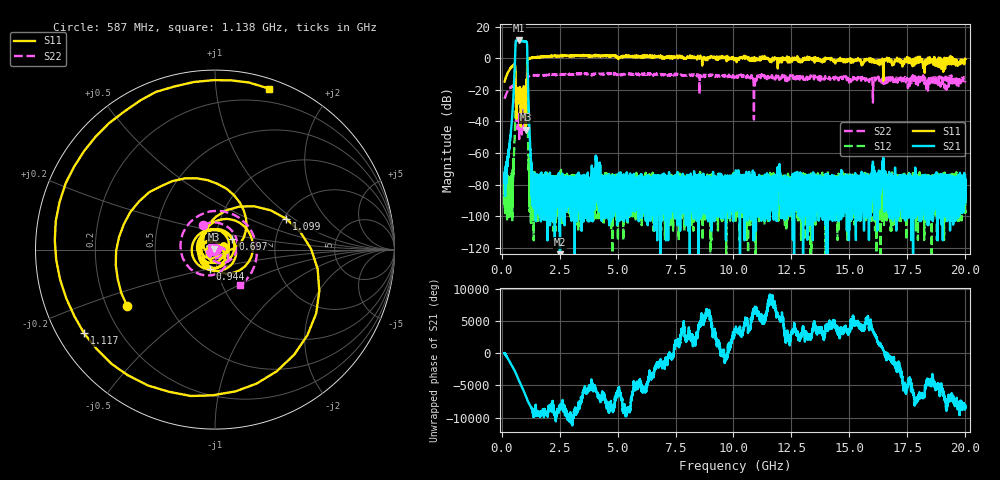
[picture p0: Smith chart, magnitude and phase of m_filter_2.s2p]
!Created with skrf (http://scikit-rf.org).
# GHz S RI R 50.0
!freq ReS11 ImS11 ReS21 ImS21 ReS12 ImS12 ReS22 ImS22
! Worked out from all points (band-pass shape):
!   20013 points, 130 MHz to 20 GHz, reference 50 ohm
!   highest |S21| = 11.21 dB at 730 MHz (marker M1); lowest = -178.6 dB at 2.517 GHz (marker M2)
!   |S21| within 3 dB of the highest: 598.8 MHz to 1.1 GHz (501 MHz wide, 59 % of centre)
!   lowest |S11| = -45.2 dB at 1.035 GHz (marker M3), VSWR 1.01, Z = 49.5 + j0.133 ohm
!   |S11| at or under -10 dB: start of sweep to 245.6 MHz; 604.2 MHz to 1.097 GHz (492.6 MHz wide, 57.9 % of centre); 16.45682 GHz to 16.46813 GHz (11.3 MHz wide, 0.0687 % of centre)
!   |S22| runs from -51.1 to -9.2 dB; largest |S21 - S12| = 3.6
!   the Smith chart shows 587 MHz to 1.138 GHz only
!   S11 on the Smith chart (normalised r, x): 587 MHz: 0.29, -0.27; 697 MHz: 1.20, +0.15; 944 MHz: 0.93, -0.21; 1.099 GHz: 2.07, +0.87; 1.117 GHz: 0.08, -0.29; 1.138 GHz: 0.08, +1.39
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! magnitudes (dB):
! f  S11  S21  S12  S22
! 130 MHz  -14.8  -77.1  -79.4  -25.6
! 427 MHz  -5.6  -42.0  -87.3  -18.1
! 587 MHz  -4.7  3.4  -38.7  -16.2
! 697 MHz  -18.9  11.0  -28.7  -38.7
! 730 MHz  -27.9  11.2  -27.9  -35.3
! 944 MHz  -18.9  10.7  -25.2  -29.0
! 1.035 GHz  -45.2  10.5  -24.5  -34.8
! 1.099 GHz  -7.3  8.5  -26.0  -19.8
! 1.117 GHz  -1.3  -3.2  -37.5  -13.6
! 1.138 GHz  -0.5  -16.1  -50.1  -12.2
! 1.262 GHz  0.2  -63.8  -81.6  -10.8
! 1.378 GHz  0.5  -83.0  -86.5  -10.6
! 2.517 GHz  1.7  -178.6  -78.2  -10.4
! 3.442 GHz  1.6  -78.3  -80.5  -9.6
! 4.139 GHz  1.7  -85.3  -87.2  -9.6
! 4.372 GHz  1.3  -85.7  -77.2  -10.1
! 6.754 GHz  1.5  -82.0  -76.1  -9.9
! 10.06 GHz  0.0  -84.8  -78.0  -11.1
! 13.38 GHz  -0.3  -81.3  -79.3  -12.6
! 16.41 GHz  -0.6  -77.4  -88.2  -12.9
! 16.69 GHz  -0.1  -76.5  -75.6  -12.7
! 20 GHz  -0.6  -77.9  -77.8  -14.5
